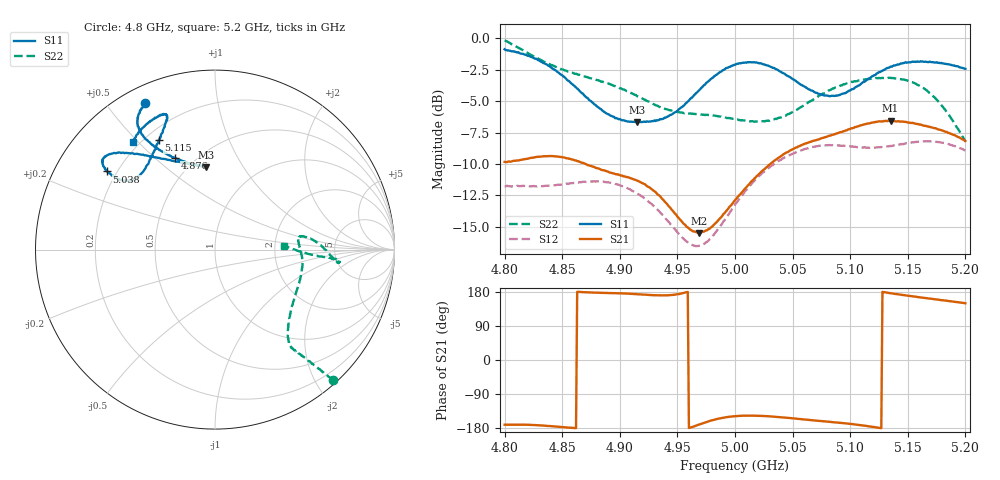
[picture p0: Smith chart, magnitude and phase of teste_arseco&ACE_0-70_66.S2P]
! Network Analyzer HP8722D
! Hewlett-Packard
! Data name: Linha & Wilkinson
! Saver's name: Rodrigo Anjos
! Comments: Teste da utilização de aquisição
! continua pelo VNA HP8722D
! Time and date: 8/5/2025 13:18
!  Frequency  S11  S21  S12  S22
# HZ  S  MA R 50
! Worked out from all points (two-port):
!   401 points, 4.8 GHz to 5.2 GHz, reference 50 ohm
!   highest |S21| = -6.55 dB at 5.135 GHz (marker M1); lowest = -15.5 dB at 4.969 GHz (marker M2)
!   |S21| within 3 dB of the highest: 4.821 GHz to 4.855 GHz (34.04 MHz wide, 0.703 % of centre); 5.037 GHz to end of sweep
!   lowest |S11| = -6.7 dB at 4.915 GHz (marker M3), VSWR 2.73, Z = 29.9 + j35.1 ohm
!   |S11| at or under -10 dB: nowhere
!   |S22| runs from -8.2 to -0.2 dB; largest |S21 - S12| = 0.83
!   S11 on the Smith chart (normalised r, x): 4.8 GHz: 0.07, +0.63; 4.876 GHz: 0.39, +0.58; 5.038 GHz: 0.16, +0.32; 5.115 GHz: 0.25, +0.58; 5.2 GHz: 0.17, +0.48
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4.8e9  0.9044 115.6  0.3222 -170.8  0.2579 -86.2  0.9807 -47.8
4.833e9  0.8008 122.0  0.3391 -172.9  0.258 -77.5  0.8132 -49.9
4.849e9  0.7169 121.7  0.3371 -176.8  0.2618 -72.1  0.7547 -50.8
4.867e9  0.6051 117.4  0.3199 179.2  0.2678 -67.8  0.7101 -51.7
4.876e9  0.5563 113.4  0.3091 178.0  0.2692 -66.8  0.6913 -52.2
4.898e9  0.4793 101.8  0.2878 176.2  0.2617 -67.0  0.6395 -50.4
4.915e9  0.4635 96.0  0.2712 173.6  0.2415 -69.0  0.5886 -46.2
4.934e9  0.473 99.6  0.2372 170.6  0.2054 -69.9  0.5343 -37.0
4.958e9  0.5541 116.3  0.1777 178.6  0.1552 -58.9  0.5033 -21.2
4.969e9  0.622 123.9  0.1681 -170.1  0.1494 -46.8  0.4991 -14.7
4.981e9  0.6987 130.2  0.1796 -158.5  0.164 -33.2  0.4926 -8.6
5e9  0.7852 137.1  0.2268 -148.4  0.218 -21.6  0.4756 -0.2
5.018e9  0.8008 141.5  0.2797 -147.1  0.2743 -18.8  0.4669 5.8
5.038e9  0.7433 144.1  0.3351 -150.3  0.3258 -19.1  0.4827 8.8
5.067e9  0.619 141.8  0.3897 -158.9  0.3691 -21.3  0.5662 4.1
5.088e9  0.5915 132.7  0.4178 -164.9  0.3747 -24.5  0.6394 -2.4
5.115e9  0.6862 117.2  0.4578 -174.5  0.367 -27.4  0.6887 -6.0
5.134e9  0.7655 110.7  0.4683 176.9  0.3716 -29.5  0.6965 -5.4
5.135e9  0.7714 110.6  0.4703 176.4  0.3732 -29.5  0.6961 -5.4
5.163e9  0.8083 112.7  0.4502 164.4  0.3887 -36.5  0.6355 -4.1
5.18e9  0.7948 118.8  0.4297 158.0  0.384 -41.9  0.537 -3.0
5.2e9  0.7564 127.3  0.3901 149.7  0.358 -47.3  0.3875 3.3
